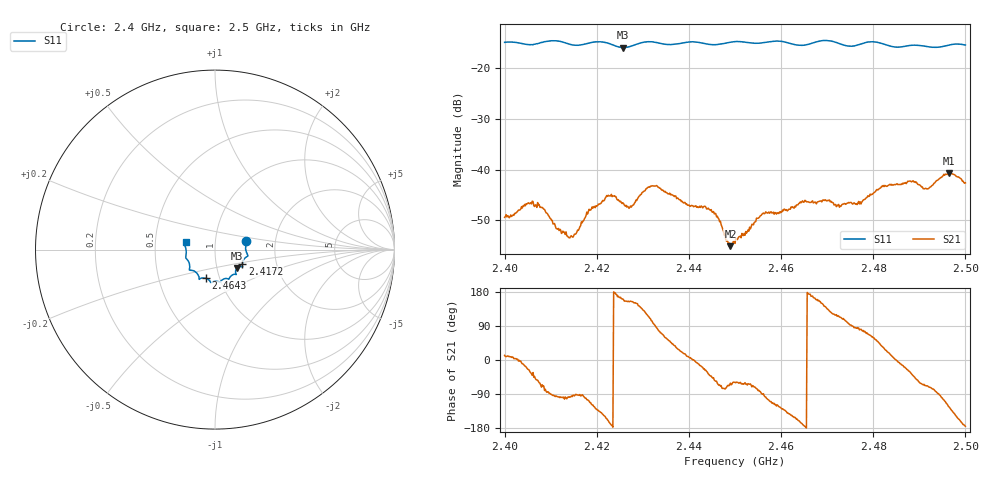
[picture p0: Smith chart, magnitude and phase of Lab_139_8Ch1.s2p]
# Hz S RI R 50
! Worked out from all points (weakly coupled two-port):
!   601 points, 2.4 GHz to 2.5 GHz, reference 50 ohm
!   highest |S21| = -40.69 dB at 2.4965 GHz (marker M1); lowest = -55.1 dB at 2.449 GHz (marker M2)
!   lowest |S11| = -15.9 dB at 2.4257 GHz (marker M3), VSWR 1.38, Z = 62.4 - j13.1 ohm
!   |S11| at or under -10 dB: start of sweep to end of sweep
!   S12 and S22 are empty: the file has one direction only
!   S11 on the Smith chart (normalised r, x): 2.4 GHz: 1.41, +0.14; 2.4172 GHz: 1.34, -0.22; 2.4643 GHz: 0.86, -0.28; 2.5 GHz: 0.72, +0.06
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2.4e9  0.1733 0.0487  0.0033 0.000718  0 0  0 0
2.405667e9  0.1706 0.00568  0.00393 -0.0026  0 0  0 0
2.414e9  0.1663 -0.0472  -0.000256 -0.00211  0 0  0 0
2.416667e9  0.1529 -0.0747  -0.000204 -0.00304  0 0  0 0
2.417167e9  0.1521 -0.0804  -0.000342 -0.00311  0 0  0 0
2.422667e9  0.1477 -0.0947  -0.0053 -0.00152  0 0  0 0
2.425667e9  0.1227 -0.1024  -0.00445 0.00152  0 0  0 0
2.4275e9  0.1149 -0.1189  -0.00384 0.00184  0 0  0 0
2.431167e9  0.1189 -0.1387  -0.00291 0.00602  0 0  0 0
2.433333e9  0.1129 -0.1372  0.00129 0.00655  0 0  0 0
2.445333e9  0.0525 -0.1622  0.00264 -0.0028  0 0  0 0
2.449e9  0.0316 -0.1777  0.000849 -0.00154  0 0  0 0
2.45e9  0.0289 -0.1807  0.000972 -0.0016  0 0  0 0
2.456167e9  -0.00782 -0.178  6.85e-05 -0.00373  0 0  0 0
2.464333e9  -0.0501 -0.1604  -0.00457 -0.00112  0 0  0 0
2.466667e9  -0.076 -0.1589  -0.00475 0.000973  0 0  0 0
2.476833e9  -0.1247 -0.1163  0.000458 0.00483  0 0  0 0
2.483333e9  -0.1407 -0.09  0.00662 0.00231  0 0  0 0
2.488167e9  -0.161 -0.0489  0.00629 -0.00434  0 0  0 0
2.491667e9  -0.1612 -0.0287  0.0024 -0.00596  0 0  0 0
2.4965e9  -0.1679 0.0232  -0.0052 -0.00763  0 0  0 0
2.5e9  -0.1641 0.0422  -0.00737 -0.000663  0 0  0 0
